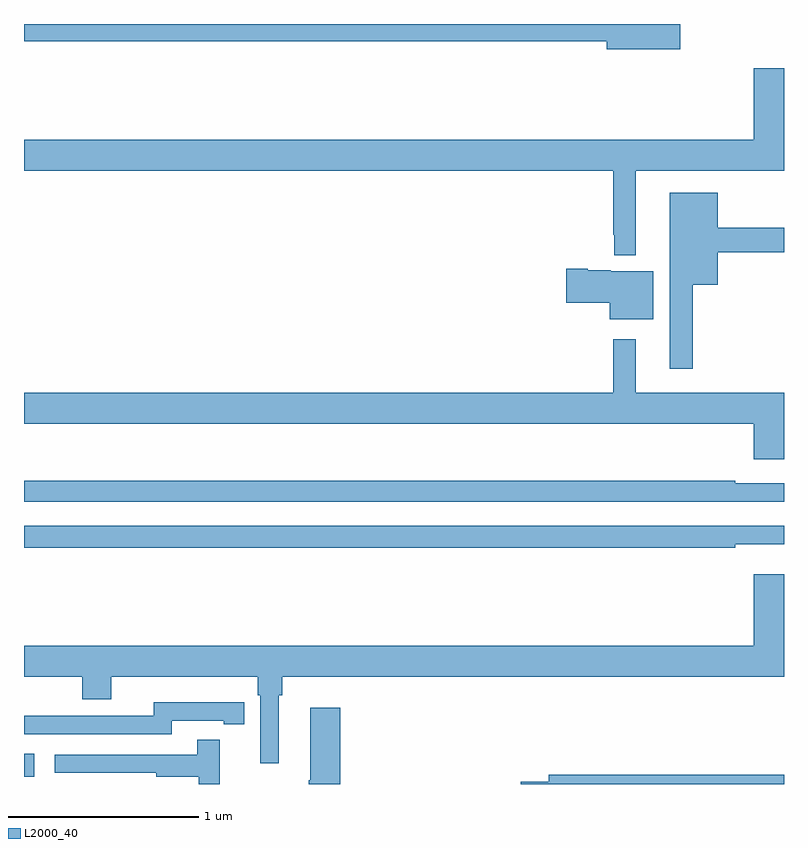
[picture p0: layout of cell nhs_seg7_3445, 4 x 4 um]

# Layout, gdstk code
import gdstk
lib = gdstk.Library(unit=1e-6, precision=1e-09)
def R(c, l, rs):  # rectangles x0, y0, x1, y1
    for r in rs: c.add(gdstk.rectangle(r[:2], r[2:], *l))
def P(c, l, *ps):  # polygons
    for p in ps: c.add(gdstk.Polygon(p, *l))
L2000_40 = (2000, 40)

nhs_seg7_3445 = lib.new_cell('nhs_seg7_3445')
R(nhs_seg7_3445, L2000_40, [(329,1052.037,329.053,1052.158)])
P(nhs_seg7_3445, L2000_40, [(332.455,1056),(329,1056),(329,1055.908),(332.066,1055.908),(332.066,1055.866),(332.455,1055.866)],
  [(332.221,1055.228),(333,1055.228),(333,1055.767),(332.84,1055.767),(332.84,1055.392),(329,1055.392),(329,1055.228),(332.1,1055.228),(332.1,1054.891),(332.107,1054.891),(332.107,1054.784),(332.221,1054.784)],
  [(332.521,1054.628),(332.65,1054.628),(332.65,1054.798),(333,1054.798),(333,1054.927),(332.65,1054.927),(332.65,1055.113),(332.399,1055.113),(332.399,1054.185),(332.521,1054.185)],
  [(332.311,1054.699),(332.088,1054.699),(332.088,1054.705),(331.966,1054.705),(331.966,1054.712),(331.854,1054.712),(331.854,1054.534),(332.084,1054.534),(332.084,1054.445),(332.311,1054.445)],
  [(333,1054.06),(332.221,1054.06),(332.221,1054.342),(332.1,1054.342),(332.1,1054.06),(329,1054.06),(329,1053.896),(332.84,1053.896),(332.84,1053.708),(333,1053.708)],
  [(333,1053.582),(332.744,1053.582),(332.744,1053.595),(329,1053.595),(329,1053.486),(333,1053.486)],
  [(332.744,1053.263),(333,1053.263),(333,1053.36),(329,1053.36),(329,1053.244),(332.744,1053.244)],
  [(330.34,1052.468),(330.359,1052.468),(330.359,1052.564),(333,1052.564),(333,1053.103),(332.84,1053.103),(332.84,1052.728),(329,1052.728),(329,1052.564),(329.306,1052.564),(329.306,1052.447),(329.458,1052.447),(329.458,1052.564),(330.23,1052.564),(330.23,1052.468),(330.243,1052.468),(330.243,1052.109),(330.34,1052.109)],
  [(329.778,1052.334),(330.05,1052.334),(330.05,1052.314),(330.158,1052.314),(330.158,1052.43),(330.05,1052.43),(330.05,1052.431),(329.682,1052.431),(329.682,1052.358),(329.222,1052.358),(329.222,1052.36),(329,1052.36),(329,1052.262),(329.778,1052.262)],
  [(330.665,1052.401),(330.506,1052.401),(330.506,1052.021),(330.499,1052.021),(330.499,1052),(330.665,1052)],
  [(330.029,1052.233),(329.911,1052.233),(329.911,1052.154),(329.163,1052.154),(329.163,1052.058),(329.695,1052.058),(329.695,1052.038),(329.919,1052.038),(329.919,1052),(330.029,1052)],
  [(333,1052.048),(331.763,1052.048),(331.763,1052.012),(331.614,1052.012),(331.614,1052),(333,1052)])

lib.write_gds('nhs_seg7_3445.gds')
